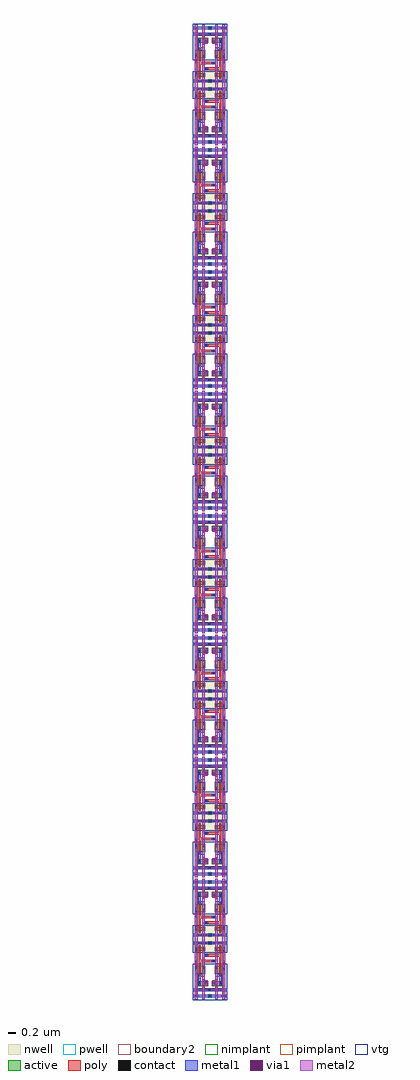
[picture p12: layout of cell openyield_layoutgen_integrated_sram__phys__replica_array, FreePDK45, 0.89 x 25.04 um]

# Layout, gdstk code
import gdstk
lib = gdstk.Library(unit=1e-6, precision=5e-10)
def R(c, l, rs):  # rectangles x0, y0, x1, y1
    for r in rs: c.add(gdstk.rectangle(r[:2], r[2:], *l))
active = (1, 0)
pwell = (2, 0)
nwell = (3, 0)
nimplant = (4, 0)
pimplant = (5, 0)
vtg = (6, 0)
poly = (9, 0)
contact = (10, 0)
metal1 = (11, 0)
via1 = (12, 0)
metal2 = (13, 0)
boundary2 = (239, 0)

replica_cell_1rw = lib.new_cell('replica_cell_1rw')
R(replica_cell_1rw, active, [(0.3025,-0.045,0.3925,0.045), (0.3025,-0.045,0.3925,0.045), (0.045,0.2475,0.12,0.3825), (0.045,0.2475,0.12,0.3825), (0.045,0.2475,0.305,0.3825), (0.23,0.2475,0.305,0.3825), (0.23,0.2475,0.305,0.3825), (0.4,0.2475,0.475,0.3825), (0.4,0.2475,0.475,0.3825), (0.4,0.2475,0.66,0.3825), (0.585,0.2475,0.66,0.3825), (0.585,0.2475,0.66,0.3825), (0.045,0.3075,0.12,0.3825), (0.23,0.3075,0.305,0.3825), (0.4,0.3075,0.475,0.3825), (0.585,0.3075,0.66,0.3825), (-0.04,0.5675,0.225,0.7725), (-0.035,0.5675,0.04,0.7725), (-0.035,0.5675,0.04,0.7725), (0.15,0.5675,0.225,0.7725), (0.15,0.5675,0.225,0.7725), (0.48,0.5675,0.555,0.7725), (0.48,0.5675,0.555,0.7725), (0.48,0.5675,0.745,0.7725), (0.665,0.5675,0.74,0.7725), (0.665,0.5675,0.74,0.7725), (-0.035,0.6975,0.04,0.7725), (0.15,0.6975,0.225,0.7725), (0.48,0.6975,0.555,0.7725), (0.665,0.6975,0.74,0.7725), (-0.04,1.1625,0.225,1.2525), (-0.035,1.1625,0.04,1.2375), (-0.035,1.1625,0.04,1.2525), (-0.035,1.1625,0.04,1.2525), (0.15,1.1625,0.225,1.2375), (0.15,1.1625,0.225,1.2525), (0.15,1.1625,0.225,1.2525), (0.48,1.1625,0.555,1.2375), (0.48,1.1625,0.555,1.2525), (0.48,1.1625,0.555,1.2525), (0.48,1.1625,0.745,1.2525), (0.665,1.1625,0.74,1.2375), (0.665,1.1625,0.74,1.2525), (0.665,1.1625,0.74,1.2525), (0.3025,1.32,0.3925,1.41), (0.3025,1.32,0.3925,1.41)])
R(replica_cell_1rw, pwell, [(-0.095,-0.1,0.8,0.8275), (0.2475,-0.1,0.4475,0.1), (0.2475,-0.08,0.4475,0.12), (-0.01,0.1925,0.36,0.4375), (0.345,0.1925,0.715,0.4375), (-0.09,0.5125,0.28,0.8275), (0.425,0.5125,0.795,0.8275)])
R(replica_cell_1rw, nwell, [(-0.095,1.1075,0.8,1.465), (-0.09,1.1075,0.28,1.3075), (0.425,1.1075,0.795,1.3075), (0.2475,1.265,0.4475,1.465), (0.2475,1.265,0.4475,1.465)])
R(replica_cell_1rw, nimplant, [(0.045,0.2475,0.305,0.3825), (0.4,0.2475,0.66,0.3825), (-0.035,0.5675,0.225,0.7725), (0.48,0.5675,0.74,0.7725), (0.3025,1.32,0.3925,1.41), (0.3025,1.32,0.3925,1.41)])
R(replica_cell_1rw, pimplant, [(0.3025,-0.045,0.3925,0.045), (-0.035,1.1625,0.225,1.2525), (0.48,1.1625,0.74,1.2525)])
R(replica_cell_1rw, vtg, [(-0.09,-0.1,0.795,0.8275), (-0.01,0.1925,0.36,0.4375), (0.345,0.1925,0.715,0.4375), (-0.09,0.5125,0.28,0.8275), (0.425,0.5125,0.795,0.8275), (-0.09,1.1075,0.795,1.465), (-0.09,1.1075,0.28,1.3075), (0.425,1.1075,0.795,1.3075)])
R(replica_cell_1rw, poly, [(0.07,0.1225,0.635,0.1975), (0.2975,0.1225,0.3725,0.1975), (0.15,0.1925,0.2,0.4375), (0.15,0.1925,0.2,0.2475), (0.505,0.1925,0.555,0.4375), (0.505,0.1925,0.555,0.2475), (0.15,0.3825,0.2,0.4375), (0.505,0.3825,0.555,0.4375), (0.07,0.5125,0.12,0.5675), (0.07,0.5125,0.12,0.8275), (0.585,0.5125,0.635,0.5675), (0.585,0.5125,0.635,0.8275), (0.07,0.7725,0.12,0.8275), (0.585,0.7725,0.635,0.8275), (0.07,0.8275,0.12,1.1075), (0.07,0.8275,0.12,1.1075), (0.585,0.8275,0.635,1.1075), (0.585,0.8275,0.635,1.1075), (0.07,0.8625,0.5025,0.9375), (0.4275,0.8625,0.5025,0.9375), (0.4275,0.8625,0.5025,0.9375), (0.2025,1.0125,0.635,1.0875), (0.2025,1.0125,0.2775,1.0875), (0.2025,1.0125,0.2775,1.0875), (0.07,1.1075,0.12,1.1625), (0.07,1.1075,0.12,1.3075), (0.585,1.1075,0.635,1.1625), (0.585,1.1075,0.635,1.3075), (0.07,1.2525,0.12,1.3075), (0.585,1.2525,0.635,1.3075)])
R(replica_cell_1rw, contact, [(0.315,-0.0325,0.38,0.0325), (0.3025,0.1275,0.3675,0.1925), (0.05,0.3125,0.115,0.3775), (0.235,0.3125,0.3,0.3775), (0.405,0.3125,0.47,0.3775), (0.59,0.3125,0.655,0.3775), (-0.0325,0.7025,0.0325,0.7675), (0.155,0.7025,0.22,0.7675), (0.485,0.7025,0.55,0.7675), (0.6725,0.7025,0.7375,0.7675), (0.4325,0.8675,0.4975,0.9325), (0.4325,0.8675,0.4975,0.9325), (0.2075,1.0175,0.2725,1.0825), (0.2075,1.0175,0.2725,1.0825), (-0.0325,1.1675,0.0325,1.2325), (0.155,1.1675,0.22,1.2325), (0.485,1.1675,0.55,1.2325), (0.6725,1.1675,0.7375,1.2325), (0.315,1.3325,0.38,1.3975)])
R(replica_cell_1rw, metal1, [(-0.09,-0.0325,0.795,0.0325), (0.6375,-0.0325,0.7725,0.0325), (0.6375,-0.0325,0.7725,0.0325), (0.6375,-0.0325,0.7725,0.0325), (0.6375,-0.0325,0.7725,0.0325), (-0.09,0.1275,0.795,0.1925), (0.2675,0.1275,0.4025,0.1925), (-0.085,0.13,-0.0325,0.1925), (0.62,0.13,0.6725,0.1925), (0.05,0.2775,0.12,0.5675), (0.05,0.2775,0.115,0.4125), (0.2225,0.2775,0.2875,0.4125), (0.235,0.2775,0.3,0.4125), (0.405,0.2775,0.47,0.4125), (0.4175,0.2775,0.4825,0.4125), (0.59,0.2775,0.66,0.5675), (0.59,0.2775,0.655,0.4125), (0.05,0.5025,0.22,0.5675), (0.155,0.5025,0.22,1.2425), (0.485,0.5025,0.55,1.1325), (0.485,0.5025,0.66,0.5675), (-0.035,0.6675,0.035,0.8025), (-0.035,0.6675,0.035,0.8025), (-0.03,0.6675,0.035,0.8025), (0.155,0.6675,0.22,0.8025), (0.485,0.6675,0.55,0.8025), (0.67,0.6675,0.74,0.8025), (0.67,0.6675,0.74,0.8025), (0.67,0.6675,0.74,0.8025), (0.67,0.6675,0.74,0.8025), (0.67,0.6675,0.74,0.8025), (0.67,0.6675,0.74,0.8025), (0.67,0.6675,0.735,0.8025), (-0.0325,0.77,0.0325,0.905), (-0.0325,0.77,0.0325,0.905), (-0.0325,0.77,0.0325,0.905), (-0.0325,0.77,0.0325,0.905), (-0.0325,0.77,0.0325,0.905), (-0.0325,0.77,0.0325,0.905), (0.6725,0.77,0.7375,0.905), (0.6725,0.77,0.7375,0.905), (0.6725,0.77,0.7375,0.905), (0.6725,0.77,0.7375,0.905), (0.6725,0.77,0.7375,0.905), (0.6725,0.77,0.7375,0.905), (0.6725,0.77,0.7375,0.905), (0.6725,0.77,0.7375,0.905), (0.6725,0.77,0.7375,0.905), (0.6725,0.77,0.7375,0.905), (0.6725,0.77,0.7375,0.905), (0.6725,0.77,0.7375,0.905), (0.6725,0.77,0.7375,0.905), (0.6725,0.77,0.7375,0.905), (0.6725,0.77,0.7375,0.905), (0.6725,0.77,0.7375,0.905), (0.6725,0.77,0.7375,0.905), (0.6725,0.77,0.7375,0.905), (0.6725,0.77,0.7375,0.905), (0.6725,0.77,0.7375,0.905), (0.6725,0.77,0.7375,0.905), (0.6725,0.77,0.7375,0.905), (0.6725,0.77,0.7375,0.905), (0.6725,0.77,0.7375,0.905), (0.3975,0.8675,0.5325,0.9325), (0.3975,0.8675,0.5325,0.9325), (0.1725,1.0175,0.3075,1.0825), (0.1725,1.0175,0.3075,1.0825), (-0.035,1.1325,0.035,1.3325), (-0.03,1.1325,0.035,1.2675), (0.155,1.1325,0.22,1.2675), (0.485,1.1325,0.55,1.345), (0.67,1.1325,0.74,1.3325), (0.67,1.1325,0.74,1.3325), (0.67,1.1325,0.735,1.2675), (-0.09,1.3325,0.795,1.3975)])
R(replica_cell_1rw, via1, [(-0.0325,-0.0325,0.0325,0.0325), (-0.0325,-0.0325,0.0325,0.0325), (0.6725,-0.0325,0.7375,0.0325), (0.6725,-0.0325,0.7375,0.0325), (0.6725,-0.0325,0.7375,0.0325), (0.6725,-0.0325,0.7375,0.0325), (0.2225,0.3125,0.2875,0.3775), (0.4175,0.3125,0.4825,0.3775), (-0.0325,0.805,0.0325,0.87), (-0.0325,0.805,0.0325,0.87), (-0.0325,0.805,0.0325,0.87), (-0.0325,0.805,0.0325,0.87), (-0.0325,0.805,0.0325,0.87), (-0.0325,0.805,0.0325,0.87), (0.6725,0.805,0.7375,0.87), (0.6725,0.805,0.7375,0.87), (0.6725,0.805,0.7375,0.87), (0.6725,0.805,0.7375,0.87), (0.6725,0.805,0.7375,0.87), (0.6725,0.805,0.7375,0.87), (0.6725,0.805,0.7375,0.87), (0.6725,0.805,0.7375,0.87), (0.6725,0.805,0.7375,0.87), (0.6725,0.805,0.7375,0.87), (0.6725,0.805,0.7375,0.87), (0.6725,0.805,0.7375,0.87), (0.6725,0.805,0.7375,0.87), (0.6725,0.805,0.7375,0.87), (0.6725,0.805,0.7375,0.87), (0.6725,0.805,0.7375,0.87), (0.6725,0.805,0.7375,0.87), (0.6725,0.805,0.7375,0.87), (0.6725,0.805,0.7375,0.87), (0.6725,0.805,0.7375,0.87), (0.6725,0.805,0.7375,0.87), (0.6725,0.805,0.7375,0.87), (0.6725,0.805,0.7375,0.87), (0.6725,0.805,0.7375,0.87)])
R(replica_cell_1rw, metal2, [(-0.035,-0.08,0.035,1.465), (0.15,-0.08,0.22,1.465), (0.485,-0.08,0.555,1.465), (0.67,-0.08,0.74,1.465), (0.6375,-0.035,0.7725,0.035), (0.6375,-0.035,0.7725,0.035), (0.6375,-0.035,0.7725,0.035), (0.6375,-0.035,0.7725,0.035), (0.4925,-0.0325,0.55,0.0275), (-0.03,-0.03,0.03,0.0275), (0.1575,-0.025,0.2125,0.0275), (0.675,-0.025,0.735,0.0325), (0.67,-0.0125,0.74,1.3975), (0.22,0.2775,0.29,0.4125), (0.415,0.2775,0.485,0.4125), (-0.035,0.77,0.035,0.905), (-0.035,0.77,0.035,0.905), (-0.035,0.77,0.035,0.905), (-0.035,0.77,0.035,0.905), (-0.035,0.77,0.035,0.905), (-0.035,0.77,0.035,0.905), (0.67,0.77,0.74,0.905), (0.67,0.77,0.74,0.905), (0.67,0.77,0.74,0.905), (0.67,0.77,0.74,0.905), (0.67,0.77,0.74,0.905), (0.67,0.77,0.74,0.905), (0.67,0.77,0.74,0.905), (0.67,0.77,0.74,0.905), (0.67,0.77,0.74,0.905), (0.67,0.77,0.74,0.905), (0.67,0.77,0.74,0.905), (0.67,0.77,0.74,0.905), (0.67,0.77,0.74,0.905), (0.67,0.77,0.74,0.905), (0.67,0.77,0.74,0.905), (0.67,0.77,0.74,0.905), (0.67,0.77,0.74,0.905), (0.67,0.77,0.74,0.905), (0.67,0.77,0.74,0.905), (0.67,0.77,0.74,0.905), (0.67,0.77,0.74,0.905), (0.67,0.77,0.74,0.905), (0.67,0.77,0.74,0.905), (0.67,0.77,0.74,0.905)])
R(replica_cell_1rw, boundary2, [(0,0.02,0.705,1.365)])
replica_cell_1rw.add(gdstk.Label('gnd', (0.345,0), layer=11, texttype=0))
replica_cell_1rw.add(gdstk.Label('vdd', (0.35,1.365), layer=11, texttype=0))
replica_cell_1rw.add(gdstk.Label('wl', (-0.05,0.1675), layer=11, texttype=0))
replica_cell_1rw.add(gdstk.Label('bl', (0.19,0.0025), layer=13, texttype=0))
replica_cell_1rw.add(gdstk.Label('br', (0.52,0.0025), layer=13, texttype=0))

openyield_layoutgen_inte = lib.new_cell('openyield_layoutgen_integrated_sram__phys__replica_array')
openyield_layoutgen_inte.add(gdstk.Reference(replica_cell_1rw, (40.83,20.1475)))
openyield_layoutgen_inte.add(gdstk.Reference(replica_cell_1rw, (40.83,23.0775), x_reflection=True))
openyield_layoutgen_inte.add(gdstk.Reference(replica_cell_1rw, (40.83,23.2775)))
openyield_layoutgen_inte.add(gdstk.Reference(replica_cell_1rw, (40.83,26.2075), x_reflection=True))
openyield_layoutgen_inte.add(gdstk.Reference(replica_cell_1rw, (40.83,26.4075)))
openyield_layoutgen_inte.add(gdstk.Reference(replica_cell_1rw, (40.83,29.3375), x_reflection=True))
openyield_layoutgen_inte.add(gdstk.Reference(replica_cell_1rw, (40.83,29.5375)))
openyield_layoutgen_inte.add(gdstk.Reference(replica_cell_1rw, (40.83,32.4675), x_reflection=True))
openyield_layoutgen_inte.add(gdstk.Reference(replica_cell_1rw, (40.83,32.6675)))
openyield_layoutgen_inte.add(gdstk.Reference(replica_cell_1rw, (40.83,35.5975), x_reflection=True))
openyield_layoutgen_inte.add(gdstk.Reference(replica_cell_1rw, (40.83,35.7975)))
openyield_layoutgen_inte.add(gdstk.Reference(replica_cell_1rw, (40.83,38.7275), x_reflection=True))
openyield_layoutgen_inte.add(gdstk.Reference(replica_cell_1rw, (40.83,38.9275)))
openyield_layoutgen_inte.add(gdstk.Reference(replica_cell_1rw, (40.83,41.8575), x_reflection=True))
openyield_layoutgen_inte.add(gdstk.Reference(replica_cell_1rw, (40.83,42.0575)))
openyield_layoutgen_inte.add(gdstk.Reference(replica_cell_1rw, (40.83,44.9875), x_reflection=True))

lib.write_gds('openyield_layoutgen_integrated_sram__phys__replica_array.gds')
